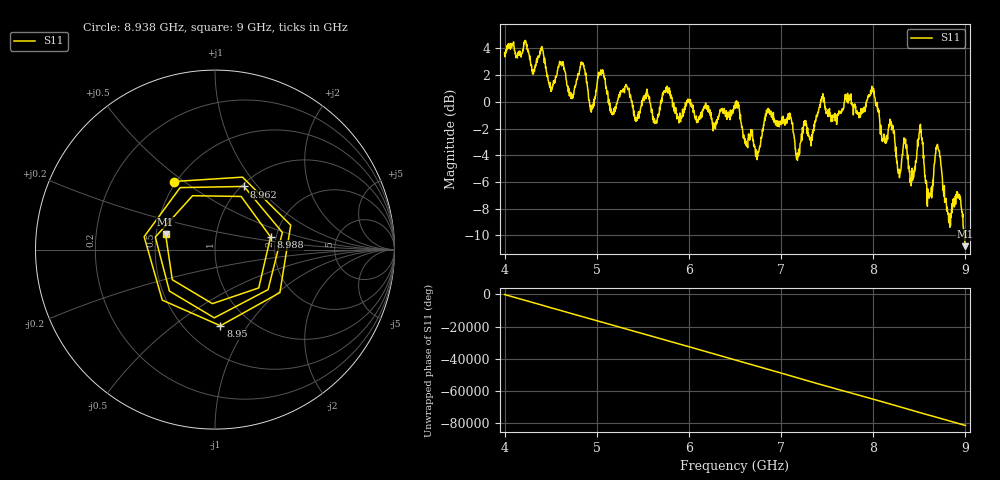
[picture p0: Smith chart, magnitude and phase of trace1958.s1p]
! Created with skrf 1.8.0 (http://scikit-rf.org).
# Hz S RI R 50.0
!freq ReS11 ImS11
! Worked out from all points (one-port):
!   1601 points, 4 GHz to 9 GHz, reference 50 ohm
!   lowest |S11| = -10.8 dB at 9 GHz (marker M1), VSWR 1.81, Z = 28.1 + j5.24 ohm
!   |S11| at or under -10 dB: 8.992016 GHz to end of sweep
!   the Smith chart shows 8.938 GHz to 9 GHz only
!   S11 on the Smith chart (normalised r, x): 8.938 GHz: 0.49, +0.46; 8.95 GHz: 0.73, -0.76; 8.962 GHz: 1.03, +0.85; 8.988 GHz: 1.87, +0.29; 9 GHz: 0.56, +0.10
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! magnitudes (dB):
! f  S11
! 4 GHz  3.6
! 4.625 GHz  3.0
! 4.725 GHz  0.7
! 4.847 GHz  2.9
! 4.944 GHz  -0.5
! 5.044 GHz  2.4
! 5.25 GHz  0.5
! 5.875 GHz  -1.1
! 6.5 GHz  -0.5
! 6.738 GHz  -4.3
! 6.856 GHz  -0.7
! 7.125 GHz  -1.6
! 7.178 GHz  -4.4
! 7.444 GHz  0.4
! 7.75 GHz  0.5
! 7.994 GHz  0.8
! 8.278 GHz  -5.3
! 8.375 GHz  -4.0
! 8.425 GHz  -5.9
! 8.512 GHz  -1.7
! 8.609 GHz  -6.8
! 8.697 GHz  -3.2
! 8.819 GHz  -9.0
! 8.938 GHz  -7.1
! 8.95 GHz  -7.4
! 8.962 GHz  -8.2
! 8.988 GHz  -10.0
! 9 GHz  -10.8
